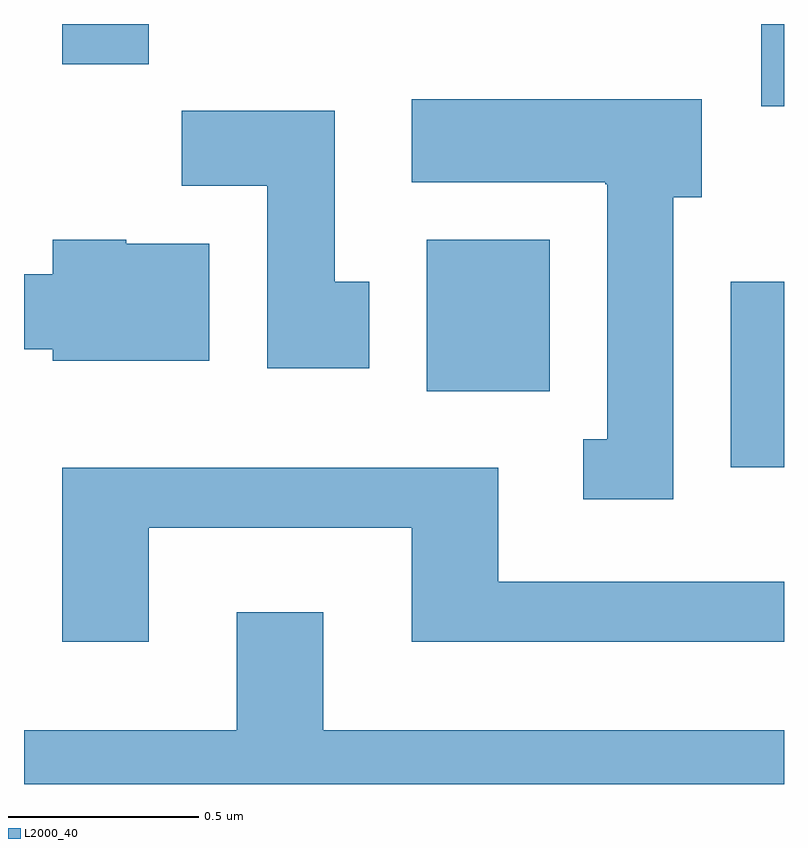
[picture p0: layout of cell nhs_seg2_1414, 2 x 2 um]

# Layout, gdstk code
import gdstk
lib = gdstk.Library(unit=1e-6, precision=1e-09)
def R(c, l, rs):  # rectangles x0, y0, x1, y1
    for r in rs: c.add(gdstk.rectangle(r[:2], r[2:], *l))
def P(c, l, *ps):  # polygons
    for p in ps: c.add(gdstk.Polygon(p, *l))
L2000_40 = (2000, 40)

nhs_seg2_1414 = lib.new_cell('nhs_seg2_1414')
R(nhs_seg2_1414, L2000_40, [(197.471,1022.636,197.611,1023.124), (196.671,1022.836,196.994,1023.234), (197.551,1023.586,197.611,1023.802), (195.711,1023.696,195.939,1023.802)])
P(nhs_seg2_1414, L2000_40, [(197.319,1023.346),(197.394,1023.346),(197.394,1023.604),(196.631,1023.604),(196.631,1023.386),(197.14,1023.386),(197.14,1023.38),(197.146,1023.38),(197.146,1022.709),(197.083,1022.709),(197.083,1022.551),(197.319,1022.551)],
  [(196.519,1023.124),(196.429,1023.124),(196.429,1023.574),(196.026,1023.574),(196.026,1023.376),(196.251,1023.376),(196.251,1022.896),(196.519,1022.896)],
  [(196.099,1023.224),(195.88,1023.224),(195.88,1023.234),(195.686,1023.234),(195.686,1023.144),(195.611,1023.144),(195.611,1022.946),(195.686,1022.946),(195.686,1022.916),(196.099,1022.916)],
  [(195.939,1022.476),(196.631,1022.476),(196.631,1022.176),(197.611,1022.176),(197.611,1022.334),(196.859,1022.334),(196.859,1022.634),(195.711,1022.634),(195.711,1022.176),(195.939,1022.176)],
  [(197.611,1021.944),(196.399,1021.944),(196.399,1022.254),(196.171,1022.254),(196.171,1021.944),(195.611,1021.944),(195.611,1021.802),(197.611,1021.802)])

lib.write_gds('nhs_seg2_1414.gds')
